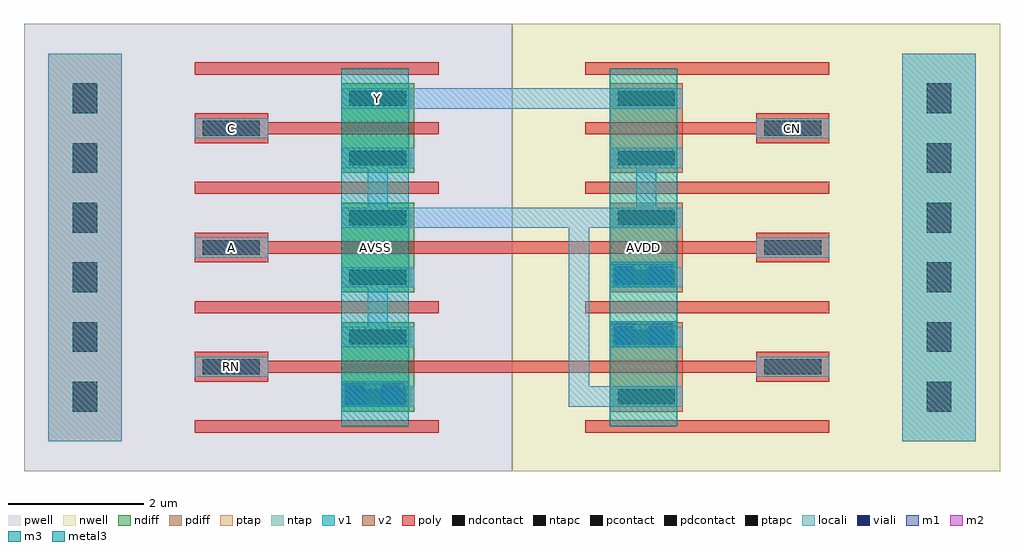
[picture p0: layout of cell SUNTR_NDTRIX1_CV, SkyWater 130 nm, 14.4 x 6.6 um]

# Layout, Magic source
magic
tech sky130B
<< poly >>
rect 162 255 1098 273
rect 162 79 1098 97
<< locali >>
rect 378 469 828 499
rect 162 425 270 455
rect 990 425 1098 455
rect 417 323 447 411
rect 813 323 843 411
rect 378 293 882 323
rect 162 249 270 279
rect 417 117 447 235
rect 162 73 270 103
rect 714 59 744 293
rect 714 29 828 59
<< metal3 >>
rect 378 0 478 528
rect 774 0 874 528
use SUNTR_NCHDL  MN0
transform 1 0 0 0 1 176
box -90 -66 630 242
use SUNTR_NCHDL  MN1
transform 1 0 0 0 1 352
box -90 -66 630 242
use SUNTR_NCHDL  MN2
transform 1 0 0 0 1 0
box -90 -66 630 242
use SUNTR_PCHDL  MP0
transform 1 0 630 0 1 176
box 0 -66 720 242
use SUNTR_PCHDL  MP1
transform 1 0 630 0 1 352
box 0 -66 720 242
use SUNTR_PCHDL  MP2
transform 1 0 630 0 1 0
box 0 -66 720 242
use SUNTR_cut_M1M4_2x1  xcut0
transform 1 0 774 0 1 117
box 0 0 100 38
use SUNTR_cut_M1M4_2x1  xcut1
transform 1 0 774 0 1 205
box 0 0 100 38
use SUNTR_cut_M1M4_2x1  xcut2
transform 1 0 378 0 1 29
box 0 0 100 38
<< labels >>
flabel locali s 162 249 270 279 0 FreeSans 200 0 0 0 A
port 1 nsew signal bidirectional
flabel locali s 990 425 1098 455 0 FreeSans 200 0 0 0 CN
port 3 nsew signal bidirectional
flabel locali s 162 425 270 455 0 FreeSans 200 0 0 0 C
port 2 nsew signal bidirectional
flabel locali s 162 73 270 103 0 FreeSans 200 0 0 0 RN
port 4 nsew signal bidirectional
flabel locali s 378 469 486 499 0 FreeSans 200 0 0 0 Y
port 5 nsew signal bidirectional
flabel metal3 s 774 0 874 528 0 FreeSans 200 0 0 0 AVDD
port 6 nsew signal bidirectional
flabel metal3 s 378 0 478 528 0 FreeSans 200 0 0 0 AVSS
port 7 nsew signal bidirectional
<< properties >>
string FIXED_BBOX 0 0 1260 528
<< end >>

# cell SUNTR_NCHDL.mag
magic
tech sky130B
magscale 1 2
<< ndiff >>
rect 756 44 972 132
rect 756 132 972 220
rect 756 220 972 308
<< ptap >>
rect -108 -44 108 44
rect -108 44 108 132
rect -108 132 108 220
rect -108 220 108 308
rect -108 308 108 396
<< poly >>
rect 324 -18 1044 18
rect 324 158 1044 194
rect 324 334 1044 370
rect 324 132 540 220
<< locali >>
rect 324 146 540 206
rect -108 -44 108 44
rect -108 44 108 132
rect 756 58 972 118
rect 756 58 972 118
rect -108 132 108 220
rect -108 132 108 220
rect 324 146 540 206
rect -108 220 108 308
rect 756 234 972 294
rect 756 234 972 294
rect -108 308 108 396
<< pcontact >>
rect 348 154 396 176
rect 348 176 396 198
rect 396 154 468 176
rect 396 176 468 198
rect 468 154 516 176
rect 468 176 516 198
<< ptapc >>
rect -36 44 36 132
rect -36 220 36 308
<< ndcontact >>
rect 780 66 828 88
rect 780 88 828 110
rect 828 66 900 88
rect 828 88 900 110
rect 900 66 948 88
rect 900 88 948 110
rect 780 242 828 264
rect 780 264 828 286
rect 828 242 900 264
rect 828 264 900 286
rect 900 242 948 264
rect 900 264 948 286
<< pwell >>
rect -180 -132 1260 484
<< labels >>
flabel locali s 324 146 540 206 0 FreeSans 400 0 0 0 G
port 2 nsew signal bidirectional
flabel locali s 756 58 972 118 0 FreeSans 400 0 0 0 S
port 3 nsew signal bidirectional
flabel locali s -108 132 108 220 0 FreeSans 400 0 0 0 B
port 4 nsew signal bidirectional
flabel locali s 756 234 972 294 0 FreeSans 400 0 0 0 D
port 1 nsew signal bidirectional
<< properties >>
string FIXED_BBOX 0 0 1260 352
<< end >>

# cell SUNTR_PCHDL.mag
magic
tech sky130B
magscale 1 2
<< pdiff >>
rect 288 44 504 132
rect 288 132 504 220
rect 288 220 504 308
<< ntap >>
rect 1152 -44 1368 44
rect 1152 44 1368 132
rect 1152 132 1368 220
rect 1152 220 1368 308
rect 1152 308 1368 396
<< poly >>
rect 216 -18 936 18
rect 216 158 936 194
rect 216 334 936 370
rect 720 132 936 220
<< locali >>
rect 720 146 936 206
rect 1152 -44 1368 44
rect 288 58 504 118
rect 288 58 504 118
rect 1152 44 1368 132
rect 720 146 936 206
rect 1152 132 1368 220
rect 1152 132 1368 220
rect 288 234 504 294
rect 288 234 504 294
rect 1152 220 1368 308
rect 1152 308 1368 396
<< pcontact >>
rect 744 154 792 176
rect 744 176 792 198
rect 792 154 864 176
rect 792 176 864 198
rect 864 154 912 176
rect 864 176 912 198
<< ntapc >>
rect 1224 44 1296 132
rect 1224 220 1296 308
<< pdcontact >>
rect 312 66 360 88
rect 312 88 360 110
rect 360 66 432 88
rect 360 88 432 110
rect 432 66 480 88
rect 432 88 480 110
rect 312 242 360 264
rect 312 264 360 286
rect 360 242 432 264
rect 360 264 432 286
rect 432 242 480 264
rect 432 264 480 286
<< nwell >>
rect 0 -132 1440 484
<< labels >>
flabel locali s 720 146 936 206 0 FreeSans 400 0 0 0 G
port 2 nsew signal bidirectional
flabel locali s 288 58 504 118 0 FreeSans 400 0 0 0 S
port 3 nsew signal bidirectional
flabel locali s 1152 132 1368 220 0 FreeSans 400 0 0 0 B
port 4 nsew signal bidirectional
flabel locali s 288 234 504 294 0 FreeSans 400 0 0 0 D
port 1 nsew signal bidirectional
<< properties >>
string FIXED_BBOX 0 0 1260 352
<< end >>

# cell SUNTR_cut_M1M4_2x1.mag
magic
tech sky130B
magscale 1 2
<< locali >>
rect 0 0 184 68
<< viali >>
rect 12 6 68 62
rect 116 6 172 62
<< m1 >>
rect 0 0 184 68
<< v1 >>
rect 12 6 68 62
rect 116 6 172 62
<< m2 >>
rect 0 0 200 76
<< v2 >>
rect 12 6 76 70
rect 124 6 188 70
<< m3 >>
rect 0 0 200 76
<< labels >>
<< properties >>
string FIXED_BBOX 0 0 200 76
<< end >>
